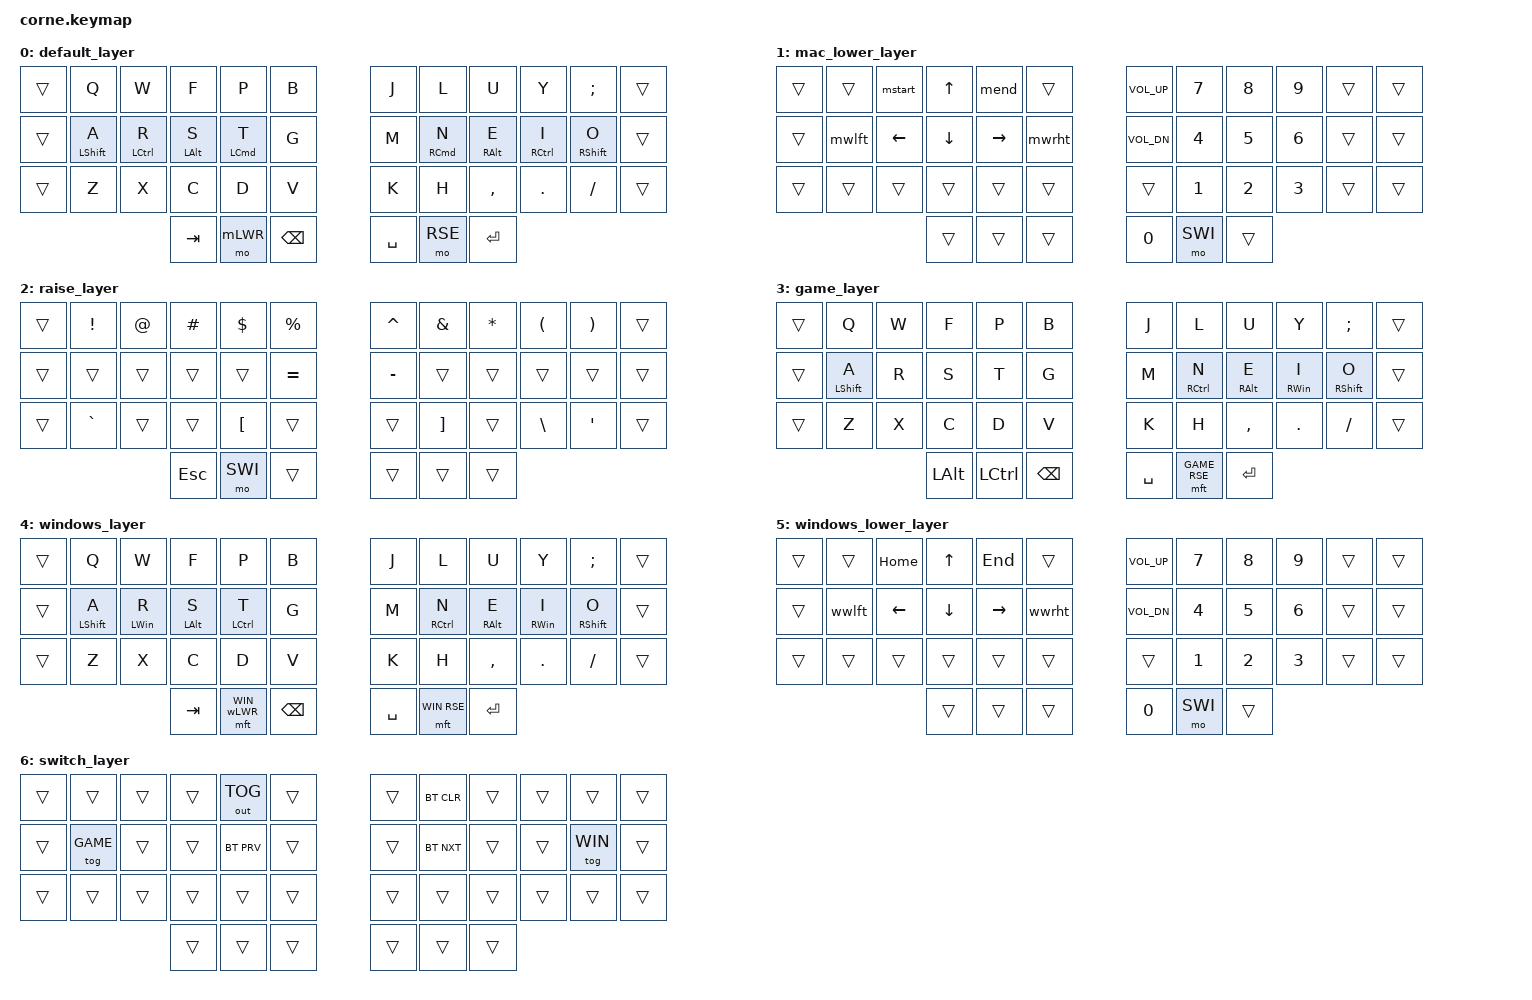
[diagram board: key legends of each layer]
/*
 * Copyright (c) 2020 The ZMK Contributors
 *
 * SPDX-License-Identifier: MIT
 */

#include <behaviors.dtsi>
#include <dt-bindings/zmk/keys.h>
#include <dt-bindings/zmk/bt.h>
#include <dt-bindings/zmk/outputs.h>

#define mLWR 1
#define RSE 2
#define GAME 3
#define WIN 4
#define wLWR 5
#define SWI 6

/ {
        behaviors {
                hm: homerow_mods {
                        compatible = "zmk,behavior-hold-tap";
                        #binding-cells = <2>;
                        tapping-term-ms = <200>;
                        quick-tap-ms = <0>;
                        flavor = "tap-preferred";
                        bindings = <&kp>, <&kp>;
                };
        };

        macros {
                mft: momentary_from_toggle {
                        compatible = "zmk,behavior-macro-two-param";
                        wait-ms = <0>;
                        tap-ms = <0>;
                        #binding-cells = <2>;
                        bindings = 
                                <&macro_param_1to1>,
                                <&macro_tap &tog MACRO_PLACEHOLDER>,
                                <&macro_param_2to1>,
                                <&macro_press &mo MACRO_PLACEHOLDER>,
                                <&macro_pause_for_release>,
                                <&macro_param_2to1>,
                                <&macro_release &mo MACRO_PLACEHOLDER>,
                                <&macro_param_1to1>,
                                <&macro_tap &tog MACRO_PLACEHOLDER>;
                };
                mwlft: mac_word_left {
                        compatible = "zmk,behavior-macro";
                        #binding-cells = <0>;
                        bindings =
                                <&macro_press &kp LALT>,
                                <&macro_tap &kp LEFT>,
                                <&macro_release &kp LALT>;
                };
                mwrht: mac_word_right {
                        compatible = "zmk,behavior-macro";
                        #binding-cells = <0>;
                        bindings =
                                <&macro_press &kp LALT>,
                                <&macro_tap &kp RIGHT>,
                                <&macro_release &kp LALT>;
                };
                mstart: mac_line_start {
                        compatible = "zmk,behavior-macro";
                        #binding-cells = <0>;
                        bindings =
                                <&macro_press &kp LCMD>,
                                <&macro_tap &kp LEFT>,
                                <&macro_release &kp LCMD>;
                };
                mend: mac_line_end {
                        compatible = "zmk,behavior-macro";
                        #binding-cells = <0>;
                        bindings =
                                <&macro_press &kp LCMD>,
                                <&macro_tap &kp RIGHT>,
                                <&macro_release &kp LCMD>;
                };
                wwlft: win_word_left {
                        compatible = "zmk,behavior-macro";
                        #binding-cells = <0>;
                        bindings =
                                <&macro_press &kp LCTRL>,
                                <&macro_tap &kp LEFT>,
                                <&macro_release &kp LCTRL>;
                };
                wwrht: win_word_right {
                        compatible = "zmk,behavior-macro";
                        #binding-cells = <0>;
                        bindings =
                                <&macro_press &kp LCTRL>,
                                <&macro_tap &kp RIGHT>,
                                <&macro_release &kp LCTRL>;
                };
        };

        keymap {
                compatible = "zmk,keymap";

                default_layer {
// -------------------------------------------------MAC-------------------------------------------------
// |     |  Q       | W      | F     | P     |  B  |   | J  |  L     |  U    |  Y     |  ;       |     |
// |     |  SHFT/A  | CTRL/R | ALT/S | CMD/T |  G  |   | M  |  CMD/N | ALT/E | CTRL/I |  SHFT/O  |     |
// |     |  Z       | X      | C     | D     |  V  |   | K  |  H     |  ,    |  .     |  /       |     |
//                           | TAB   | LWR   | BKS |   | SP |  RSE   | RET   |
                        bindings = <
&trans &kp Q &kp W &kp F &kp P &kp B                         &kp J &kp L &kp U &kp Y &kp SEMI &trans
&trans &hm LSHFT A &hm LCTRL R &hm LALT S &hm LCMD T &kp G         &kp M &hm RCMD N &hm RALT E &hm RCTRL I &hm RSHFT O &trans
&trans &kp Z &kp X &kp C &kp D &kp V                         &kp K &kp H &kp COMMA &kp DOT &kp FSLH &trans
        &kp TAB &mo mLWR &kp BSPC                               &kp SPACE &mo RSE &kp RET
                        >;
                };
                mac_lower_layer {
// ------------------------------------------------MAC-UTILITY----------------------------------
// |     |         | RowLFT |  UP  | RowRHT |         |   | VOL+ |  7  |  8  |  9  |     |     |
// |     | WordLFT | LFT    | DWN  | RHT    | WordEND |   | VOL- |  4  |  5  |  6  |     |     |
// |     |         |        |      |        |         |   |      |  1  |  2  |  3  |     |     |
//                          |      |   ---  |         |   |   0  | SWI |     |
                        bindings = <
&trans &trans &mstart &kp UP &mend &trans     &kp C_VOL_UP &kp N7 &kp N8 &kp N9 &trans &trans
&trans &mwlft &kp LEFT &kp DOWN &kp RIGHT &mwrht                        &kp C_VOL_DN &kp N4 &kp N5 &kp N6 &trans &trans
&trans &trans &trans &trans &trans &trans                &trans &kp N1 &kp N2 &kp N3 &trans &trans
        &trans &trans &trans                                            &kp N0 &mo SWI &trans
                        >;
                };
                raise_layer {
// -----------------------------------SYMBOLS-----------------------------------
// |     |  !  |  @  |  #  |  $  |  %  |   |  ^  |  &  |  *  |  (  |  )  |     |
// |     |     |     |     |     |  =  |   |  -  |     |     |     |     |     |
// |     |  `  |     |     |  [  |     |   |     |  ]  |     |  \  |  '  |     |
//                   | ESC | SWI |     |   |     | --- |     |
                        bindings = <
&trans &kp EXCL &kp AT &kp HASH &kp DLLR &kp PRCNT               &kp CARET &kp AMPS &kp STAR &kp LPAR &kp RPAR &trans
&trans &trans &trans &trans &trans &kp EQUAL            &kp MINUS &trans &trans &trans &trans &trans
&trans &kp GRAVE &trans &trans &kp LBKT &trans        &trans &kp RBKT &trans &kp BSLH &kp SQT  &trans
        &kp ESC &mo SWI &trans                          &trans &trans &trans
                        >;
                };
                game_layer {
// -------------------------------------------GAME-----------------------------------------------
// |      |   Q    |  W  |  F   |  P    |  B  |   | J  |   L    |   U   |   Y   |   ;    |  "   |
// |      | SHFT/A |  R  |  S   |  T    |  G  |   | M  | CTRL/N | ALT/E | WIN/I | SHFT/O |  '   |
// |      |   Z    |  X  |  C   |  D    |  V  |   | K  |   H    |   ,   |   .   |   /    |  +   |
//                       | LALT | LCTRL | BKS |   | SP | RSE | RET |
                        bindings = <
&trans &kp Q &kp W &kp F &kp P &kp B            &kp J &kp L &kp U &kp Y &kp SEMI &trans
&trans &hm LSHFT A &kp R &kp S &kp T &kp G      &kp M &hm RCTRL N &hm RALT E &hm RWIN I &hm RSHFT O &trans
&trans &kp Z &kp X &kp C &kp D &kp V            &kp K &kp H &kp COMMA &kp DOT &kp FSLH &trans
        &kp LALT &kp LCTRL &kp BSPC             &kp SPACE &mft GAME RSE &kp RET
                        >;
                };
                windows_layer {
// ---------------------------------------------Windows--------------------------------------------
// |     |   Q    | W     | F     | P      |  B  |   |  J | L      |  U    |  Y    |   ;    |     |
// |     | SHFT/A | WIN/R | ALT/S | CTRL/T |  G  |   |  M | CTRL/N | ALT/E | WIN/I | SHFT/O |     |
// |     |   Z    | X     | C     | D      |  V  |   |  K | H      |  ,    |  .    |   /    |     |
//                        | TAB   | LWR    | BKS |   | SP | RSE    | RET   |
                        bindings = <
&trans &kp Q &kp W &kp F &kp P &kp B                            &kp J &kp L &kp U &kp Y &kp SEMI &trans
&trans &hm LSHFT A &hm LWIN R &hm LALT S &hm LCTRL T &kp G      &kp M &hm RCTRL N &hm RALT E &hm RWIN I &hm RSHFT O &trans
&trans &kp Z &kp X &kp C &kp D &kp V                            &kp K &kp H &kp COMMA &kp DOT &kp FSLH &trans
        &kp TAB &mft WIN wLWR &kp BSPC                          &kp SPACE &mft WIN RSE &kp RET
                        >;
                };
                windows_lower_layer {
// --------------------------------------WINDOWS-UTILITY--------------------------------
// |     |      | RowLFT |  UP | RowRHT |     |   | VOL+ |  7  |  8  |  9  |     |     |
// |     | HOME | LFT    | DWN | RHT    | END |   | VOL- |  4  |  5  |  6  |     |     |
// |     |      |        |     |        |     |   |      |  1  |  2  |  3  |     |     |
//                       |     |   ---  |     |   |   0  | SWI |     |
                        bindings = <
&trans &trans &kp HOME &kp UP &kp END &trans            &kp C_VOL_UP &kp N7 &kp N8 &kp N9 &trans &trans
&trans &wwlft &kp LEFT &kp DOWN &kp RIGHT &wwrht        &kp C_VOL_DN &kp N4 &kp N5 &kp N6 &trans &trans
&trans &trans &trans &trans &trans &trans               &trans &kp N1 &kp N2 &kp N3 &trans &trans
        &trans &trans &trans                            &kp N0 &mo SWI &trans
                        >;
                };
                switch_layer {
// --------------------------------------SWITCH---------------------------------------
// |     |     |     |     | OUT_TG |     |   |     | BT_CLR |     |     |     |     |
// |     | GAM |     |     | BT_PRV |     |   |     | BT_NXT |     |     | WIN |     |
// |     |     |     |     |        |     |   |     |        |     |     |     |     |
//                   |     |   ---  |     |   |     |  ---   |     |
                        bindings = <
&trans &trans &trans &trans &out OUT_TOG &trans &trans &bt BT_CLR &trans &trans &trans &trans
&trans &tog GAME &trans &trans &bt BT_PRV &trans &trans &bt BT_NXT &trans &trans &tog WIN &trans
&trans &trans &trans &trans &trans &trans &trans &trans &trans &trans &trans &trans
        &trans &trans &trans                            &trans &trans &trans
                        >;
                };
        };
};
